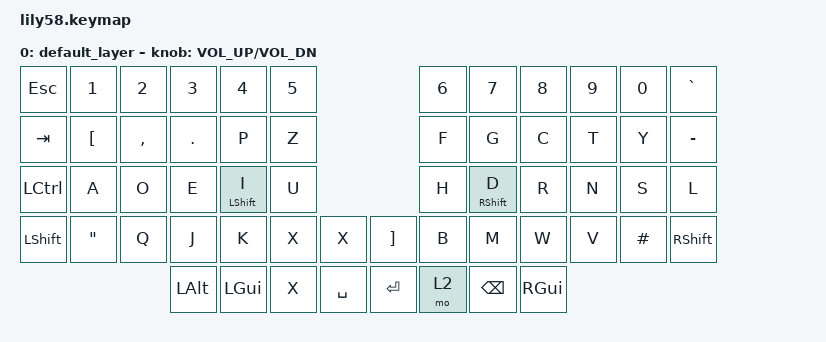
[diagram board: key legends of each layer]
/*
 * Copyright (c) 2020 The ZMK Contributors
 *
 * SPDX-License-Identifier: MIT
 */

#include <behaviors.dtsi>
#include <dt-bindings/zmk/keys.h>
#include <dt-bindings/zmk/bt.h>
#include <dt-bindings/zmk/ext_power.h>

/ {
    keymap {
        compatible = "zmk,keymap";

        default_layer {
// ------------------------------------------------------------------------------------------------------------
// |  ESC  |  1  |  2  |  3   |  4   |  5   |                   |  6   |  7    |  8    |  9   |   0   |   `   |
// |  TAB  |  Q  |  W  |  E   |  R   |  T   |                   |  Y   |  U    |  I    |  O   |   P   |   -   |
// |  CTRL |  A  |  S  |  D   |  F   |  G   |                   |  H   |  J    |  K    |  L   |   ;   |   '   |
// | SHIFT |  Z  |  X  |  C   |  V   |  B   |   "["  |  |  "]"  |  N   |  M    |  ,    |  .   |   /   | SHIFT |
//                     | ALT  | GUI  | LOWER|  SPACE |  | ENTER | RAISE| BSPC  | GUI   |
            bindings = <
&kp ESC   &kp N1         &kp N2         &kp N3   &kp N4         &kp N5                     &kp N6 &kp N7         &kp N8    &kp N9  &kp N0   &kp GRAVE
&kp TAB   &kp LBKT       &kp COMMA      &kp DOT  &kp P          &kp Z                      &kp F  &kp G          &kp C     &kp T   &kp Y    &kp MINUS
&kp LCTRL &kp A          &kp O          &kp E    &mt LSHFT I    &kp U                      &kp H  &mt RSHFT D    &kp R     &kp N   &kp S    &kp L
&kp LSHFT &kp DQT        &kp Q          &kp J    &kp K          &kp X  &kp X      &kp RBKT &kp B  &kp M          &kp W     &kp V   &kp HASH &kp RSHFT
                                        &kp LALT &kp LGUI       &kp X  &kp SPACE  &kp RET  &mo 2  &kp BSPC       &kp RGUI
            >;

            sensor-bindings = <&inc_dec_kp C_VOL_UP C_VOL_DN>;
        };
    };
};

